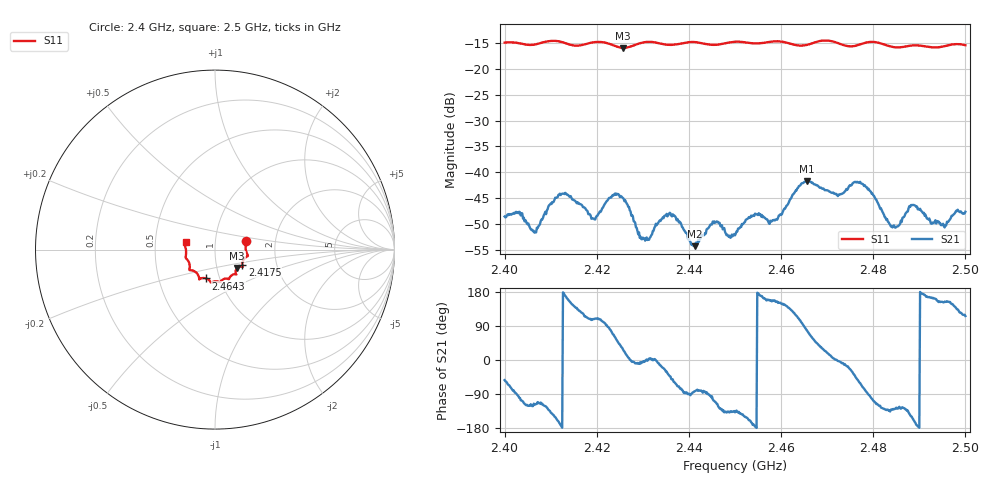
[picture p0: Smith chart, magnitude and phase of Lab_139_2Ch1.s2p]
# Hz S RI R 50
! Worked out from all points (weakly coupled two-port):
!   601 points, 2.4 GHz to 2.5 GHz, reference 50 ohm
!   highest |S21| = -41.71 dB at 2.4657 GHz (marker M1); lowest = -54.3 dB at 2.4413 GHz (marker M2)
!   lowest |S11| = -15.9 dB at 2.4257 GHz (marker M3), VSWR 1.38, Z = 62.5 - j13.1 ohm
!   |S11| at or under -10 dB: start of sweep to end of sweep
!   S12 and S22 are empty: the file has one direction only
!   S11 on the Smith chart (normalised r, x): 2.4 GHz: 1.41, +0.14; 2.4175 GHz: 1.34, -0.23; 2.4643 GHz: 0.86, -0.28; 2.5 GHz: 0.72, +0.06
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2.4e9  0.173 0.0486  0.00224 -0.00299  0 0  0 0
2.406333e9  0.1716 -0.00228  -0.00116 -0.00246  0 0  0 0
2.412167e9  0.1791 -0.0381  -0.00596 -0.000914  0 0  0 0
2.416667e9  0.1527 -0.0743  -0.0028 0.00398  0 0  0 0
2.4175e9  0.1518 -0.0836  -0.00194 0.00405  0 0  0 0
2.419333e9  0.1532 -0.0962  -0.00111 0.00339  0 0  0 0
2.425667e9  0.1228 -0.1024  0.00495 0.00271  0 0  0 0
2.429833e9  0.1169 -0.1358  0.00224 -0.000261  0 0  0 0
2.433333e9  0.1128 -0.1373  0.0032 -0.000469  0 0  0 0
2.436333e9  0.0916 -0.1444  0.00234 -0.00292  0 0  0 0
2.441333e9  0.0768 -0.1647  0.000263 -0.00191  0 0  0 0
2.445667e9  0.0505 -0.1634  -0.00113 -0.00305  0 0  0 0
2.45e9  0.0287 -0.1809  -0.00183 -0.00164  0 0  0 0
2.458833e9  -0.0219 -0.1838  -0.00313 0.00156  0 0  0 0
2.464333e9  -0.0497 -0.1605  -0.00138 0.00757  0 0  0 0
2.465667e9  -0.0656 -0.1581  0.00188 0.008  0 0  0 0
2.466667e9  -0.0757 -0.1593  0.00392 0.00685  0 0  0 0
2.477333e9  -0.1297 -0.1156  0.00339 -0.00703  0 0  0 0
2.483333e9  -0.1407 -0.0898  -0.00227 -0.00238  0 0  0 0
2.488667e9  -0.1621 -0.0473  -0.00443 -0.00194  0 0  0 0
2.495167e9  -0.1644 0.0116  -0.00281 0.00148  0 0  0 0
2.5e9  -0.164 0.0431  -0.00182 0.00373  0 0  0 0
